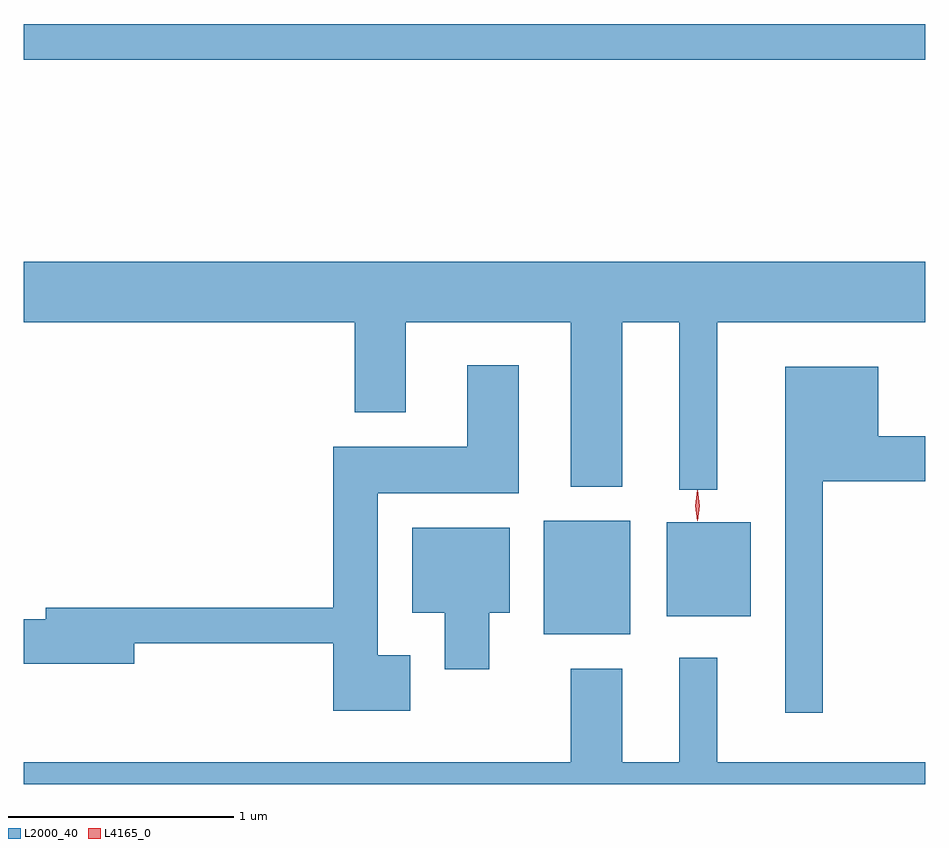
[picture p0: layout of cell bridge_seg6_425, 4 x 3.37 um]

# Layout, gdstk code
import gdstk
lib = gdstk.Library(unit=1e-6, precision=1e-09)
def R(c, l, rs):  # rectangles x0, y0, x1, y1
    for r in rs: c.add(gdstk.rectangle(r[:2], r[2:], *l))
def P(c, l, *ps):  # polygons
    for p in ps: c.add(gdstk.Polygon(p, *l))
L2000_40 = (2000, 40)
L4165_0 = (4165, 0)

bridge_seg6_425 = lib.new_cell('bridge_seg6_425')
R(bridge_seg6_425, L2000_40, [(824.511,1646.331,824.894,1646.834), (825.056,1646.411,825.429,1646.829), (822.203,1648.881,826.203,1649.039)])
P(bridge_seg6_425, L2000_40, [(825.279,1647.716),(826.203,1647.716),(826.203,1647.984),(822.203,1647.984),(822.203,1647.716),(823.671,1647.716),(823.671,1647.316),(823.899,1647.316),(823.899,1647.716),(824.631,1647.716),(824.631,1646.986),(824.859,1646.986),(824.859,1647.716),(825.111,1647.716),(825.111,1646.973),(825.279,1646.973)],
  [(823.919,1646.239),(823.774,1646.239),(823.774,1646.956),(824.399,1646.956),(824.399,1647.524),(824.171,1647.524),(824.171,1647.164),(823.576,1647.164),(823.576,1646.449),(822.301,1646.449),(822.301,1646.399),(822.203,1646.399),(822.203,1646.201),(822.694,1646.201),(822.694,1646.291),(823.576,1646.291),(823.576,1645.991),(823.919,1645.991)],
  [(825.749,1647.011),(826.203,1647.011),(826.203,1647.209),(825.994,1647.209),(825.994,1647.519),(825.581,1647.519),(825.581,1645.983),(825.749,1645.983)],
  [(824.269,1646.426),(824.359,1646.426),(824.359,1646.804),(823.926,1646.804),(823.926,1646.426),(824.071,1646.426),(824.071,1646.176),(824.269,1646.176)],
  [(826.203,1645.764),(825.279,1645.764),(825.279,1646.228),(825.111,1646.228),(825.111,1645.764),(824.859,1645.764),(824.859,1646.179),(824.631,1646.179),(824.631,1645.764),(822.203,1645.764),(822.203,1645.667),(826.203,1645.667)])
P(bridge_seg6_425, L4165_0, [(825.192,1646.834),(825.183,1646.902),(825.192,1646.97),(825.193,1646.97),(825.193,1646.97),(825.203,1646.902),(825.193,1646.834),(825.193,1646.834)],
  [(825.192,1646.838),(825.183,1646.902),(825.192,1646.967),(825.193,1646.967),(825.193,1646.967),(825.203,1646.902),(825.193,1646.838),(825.193,1646.838)])

lib.write_gds('bridge_seg6_425.gds')
